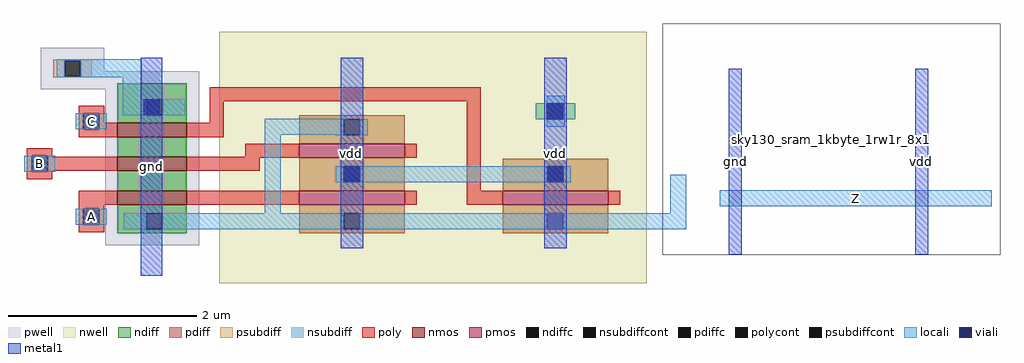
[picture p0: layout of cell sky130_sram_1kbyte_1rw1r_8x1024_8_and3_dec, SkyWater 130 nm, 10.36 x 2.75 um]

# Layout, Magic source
magic
tech sky130A
magscale 1 2
<< locali >>
rect 110 266 176 300
rect 0 176 66 210
rect 110 64 176 98
rect 1372 88 1406 170
rect 1477 103 2054 137
rect 767 54 1406 88
<< metal1 >>
rect 248 -44 294 418
rect 672 14 720 418
rect 1104 14 1152 418
rect 1496 0 1524 395
rect 1892 0 1920 395
use sky130_sram_1kbyte_1rw1r_8x1024_8_pinv_dec  sky130_sram_1kbyte_1rw1r_8x1024_8_pinv_dec_0
transform 1 0 1312 0 1 0
box 44 0 760 490
use sky130_fd_bd_sram__openram_dp_nand3_dec_2  sky130_fd_bd_sram__openram_dp_nand3_dec_0
transform 1 0 0 0 1 0
box 0 -60 1322 474
<< labels >>
rlabel metal1 s 1104 14 1152 418 4 vdd
port 1 nsew
rlabel metal1 s 672 14 720 418 4 vdd
port 1 nsew
rlabel metal1 s 1892 0 1920 395 4 vdd
port 1 nsew
rlabel metal1 s 1496 0 1524 395 4 gnd
port 2 nsew
rlabel metal1 s 248 -44 294 418 4 gnd
port 2 nsew
rlabel locali s 1765 120 1765 120 4 Z
port 3 nsew
rlabel locali s 143 81 143 81 4 A
port 4 nsew
rlabel locali s 33 193 33 193 4 B
port 5 nsew
rlabel locali s 143 283 143 283 4 C
port 6 nsew
<< properties >>
string FIXED_BBOX 0 0 2054 395
string GDS_FILE $PDKPATH/libs.ref/sky130_sram_macros/gds/sky130_sram_1kbyte_1rw1r_8x1024_8.gds
string GDS_END 51814
string GDS_START 50046
<< end >>

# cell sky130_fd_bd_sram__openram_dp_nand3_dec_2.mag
magic
tech sky130A
magscale 1 2
<< nwell >>
rect 414 -60 1322 474
<< pwell >>
rect 36 390 170 440
rect 36 351 372 390
rect 172 20 372 351
<< nmos >>
rect 198 250 346 280
rect 198 178 346 208
rect 198 106 346 136
<< pmos >>
rect 584 206 808 236
rect 584 106 808 136
rect 1016 106 1240 136
<< ndiff >>
rect 198 330 346 364
rect 198 296 261 330
rect 295 296 346 330
rect 198 280 346 296
rect 198 208 346 250
rect 198 136 346 178
rect 198 88 346 106
rect 198 54 259 88
rect 293 54 346 88
rect 198 46 346 54
<< pdiff >>
rect 584 288 808 296
rect 584 254 679 288
rect 713 254 808 288
rect 584 236 808 254
rect 584 188 808 206
rect 584 154 679 188
rect 713 154 808 188
rect 584 136 808 154
rect 1016 188 1240 204
rect 1016 154 1111 188
rect 1145 154 1240 188
rect 1016 136 1240 154
rect 584 88 808 106
rect 584 54 679 88
rect 713 54 808 88
rect 584 46 808 54
rect 1016 88 1240 106
rect 1016 54 1111 88
rect 1145 54 1240 88
rect 1016 46 1240 54
<< ndiffc >>
rect 261 296 295 330
rect 259 54 293 88
<< pdiffc >>
rect 679 254 713 288
rect 679 154 713 188
rect 1111 154 1145 188
rect 679 54 713 88
rect 1111 54 1145 88
<< psubdiff >>
rect 62 412 144 414
rect 62 378 86 412
rect 120 378 144 412
rect 62 377 144 378
<< nsubdiff >>
rect 1086 288 1110 322
rect 1144 288 1170 322
<< psubdiffcont >>
rect 86 378 120 412
<< nsubdiffcont >>
rect 1110 288 1144 322
<< poly >>
rect 116 300 170 316
rect 116 266 126 300
rect 160 280 170 300
rect 394 326 970 356
rect 394 280 424 326
rect 160 266 198 280
rect 116 250 198 266
rect 346 250 424 280
rect 6 210 60 226
rect 6 176 16 210
rect 50 208 60 210
rect 470 208 584 236
rect 50 178 198 208
rect 346 206 584 208
rect 808 206 834 236
rect 346 178 500 206
rect 50 176 60 178
rect 6 160 60 176
rect 940 136 970 326
rect 116 106 198 136
rect 346 106 584 136
rect 808 106 834 136
rect 940 106 1016 136
rect 1240 106 1266 136
rect 116 98 170 106
rect 116 64 126 98
rect 160 64 170 98
rect 116 48 170 64
<< polycont >>
rect 126 266 160 300
rect 16 176 50 210
rect 126 64 160 98
<< locali >>
rect 70 412 250 415
rect 70 378 86 412
rect 120 378 250 412
rect 70 377 250 378
rect 210 330 250 377
rect 110 266 126 300
rect 160 266 176 300
rect 210 296 254 330
rect 295 296 342 330
rect 1110 322 1148 338
rect 511 288 687 289
rect 1145 288 1148 322
rect 511 255 679 288
rect 0 176 16 210
rect 50 176 66 210
rect 110 64 126 98
rect 160 64 176 98
rect 511 88 545 255
rect 662 254 679 255
rect 713 254 730 288
rect 1110 272 1148 288
rect 662 154 679 188
rect 713 154 1111 188
rect 1145 154 1161 188
rect 212 54 259 88
rect 293 54 679 88
rect 713 54 1111 88
rect 1145 54 1322 88
<< viali >>
rect 254 296 261 330
rect 261 296 288 330
rect 1111 288 1144 322
rect 1144 288 1145 322
rect 679 154 713 188
rect 1111 154 1145 188
<< metal1 >>
rect 248 330 294 418
rect 248 296 254 330
rect 288 296 294 330
rect 248 -44 294 296
rect 672 188 720 418
rect 672 154 679 188
rect 713 154 720 188
rect 672 14 720 154
rect 1104 322 1152 418
rect 1104 288 1111 322
rect 1145 288 1152 322
rect 1104 188 1152 288
rect 1104 154 1111 188
rect 1145 154 1152 188
rect 1104 14 1152 154
<< labels >>
rlabel metal1 s 672 14 720 418 4 vdd
port 1 nsew
rlabel metal1 s 1104 14 1152 418 4 vdd
port 1 nsew
rlabel metal1 s 248 -44 294 418 4 gnd
port 2 nsew
rlabel metal1 s 678 382 714 400 4 VDD
port 3 nsew
rlabel metal1 s 1110 388 1146 406 4 VDD
port 3 nsew
rlabel metal1 s 254 380 290 398 4 GND
port 4 nsew
rlabel locali s 143 81 143 81 4 A
port 5 nsew
rlabel locali s 33 193 33 193 4 B
port 6 nsew
rlabel locali s 143 283 143 283 4 C
port 7 nsew
rlabel locali s 767 71 767 71 4 Z
port 8 nsew
rlabel locali s 140 284 140 284 4 C
port 7 nsew
rlabel locali s 1294 71 1294 71 4 Z
port 8 nsew
rlabel locali s 30 196 30 196 4 B
port 6 nsew
rlabel locali s 140 84 140 84 4 A
port 5 nsew
<< properties >>
string FIXED_BBOX 0 0 1312 395
string GDS_FILE $PDKPATH/libs.ref/sky130_sram_macros/gds/sky130_sram_1kbyte_1rw1r_8x1024_8.gds
string GDS_END 15564
string GDS_START 10004
<< end >>
